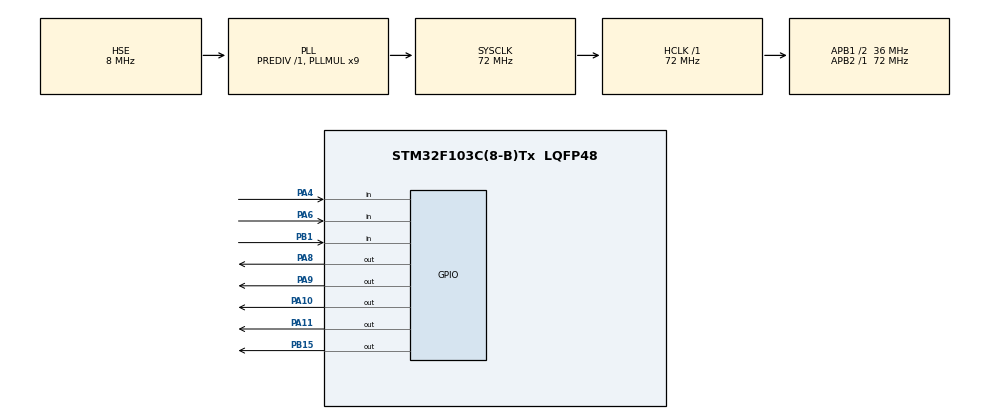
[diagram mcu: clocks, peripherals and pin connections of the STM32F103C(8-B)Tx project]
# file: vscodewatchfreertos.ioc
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FREERTOS.Tasks01=defaultTask,24,128,StartDefaultTask,Default,NULL,Dynamic,NULL,NULL;myTask02,8,128,StartTask02,Default,NULL,Dynamic,NULL,NULL;myTask03,8,128,StartTask03,Default,NULL,Dynamic,NULL,NULL;myTask04,8,128,StartTask04,Default,NULL,Dynamic,NULL,NULL
Mcu.Family=STM32F1
Mcu.Name=STM32F103C(8-B)Tx
Mcu.Package=LQFP48
NVIC.PriorityGroup=NVIC_PRIORITYGROUP_4
NVIC.TIM1_UP_IRQn=true\:15\:0\:false\:false\:true\:false\:false\:true\:true
NVIC.TIM2_IRQn=true\:6\:0\:true\:false\:true\:true\:true\:true\:true
NVIC.TimeBase=TIM1_UP_IRQn
NVIC.TimeBaseIP=TIM1
PA10.GPIO_ModeDefaultOutputPP=GPIO_MODE_OUTPUT_OD
PA10.GPIO_PuPd=GPIO_NOPULL
PA10.GPIO_Speed=GPIO_SPEED_FREQ_MEDIUM
PA10.PinState=GPIO_PIN_SET
PA10.Signal=GPIO_Output
PA11.GPIO_ModeDefaultOutputPP=GPIO_MODE_OUTPUT_OD
PA11.GPIO_PuPd=GPIO_NOPULL
PA11.GPIO_Speed=GPIO_SPEED_FREQ_MEDIUM
PA11.PinState=GPIO_PIN_SET
PA11.Signal=GPIO_Output
PA13.Mode=Serial_Wire
PA13.Signal=SYS_JTMS-SWDIO
PA14.Mode=Serial_Wire
PA14.Signal=SYS_JTCK-SWCLK
PA4.GPIO_PuPd=GPIO_PULLDOWN
PA4.Signal=GPIO_Input
PA6.GPIO_PuPd=GPIO_PULLDOWN
PA6.Signal=GPIO_Input
PA8.GPIO_ModeDefaultOutputPP=GPIO_MODE_OUTPUT_OD
PA8.GPIO_PuPd=GPIO_PULLUP
PA8.GPIO_Speed=GPIO_SPEED_FREQ_MEDIUM
PA8.PinState=GPIO_PIN_SET
PA8.Signal=GPIO_Output
PA9.GPIO_ModeDefaultOutputPP=GPIO_MODE_OUTPUT_OD
PA9.GPIO_PuPd=GPIO_PULLUP
PA9.GPIO_Speed=GPIO_SPEED_FREQ_MEDIUM
PA9.PinState=GPIO_PIN_SET
PA9.Signal=GPIO_Output
PB1.GPIO_PuPd=GPIO_PULLDOWN
PB1.Signal=GPIO_Input
PB15.GPIO_Speed=GPIO_SPEED_FREQ_HIGH
PB15.PinState=GPIO_PIN_SET
PB15.Signal=GPIO_Output
PC14-OSC32_IN.Mode=LSE-External-Oscillator
PC14-OSC32_IN.Signal=RCC_OSC32_IN
PC15-OSC32_OUT.Mode=LSE-External-Oscillator
PC15-OSC32_OUT.Signal=RCC_OSC32_OUT
PD0-OSC_IN.Mode=HSE-External-Oscillator
PD0-OSC_IN.Signal=RCC_OSC_IN
PD1-OSC_OUT.Mode=HSE-External-Oscillator
PD1-OSC_OUT.Signal=RCC_OSC_OUT
ProjectManager.HeapSize=0x200
ProjectManager.StackSize=0x400
ProjectManager.TargetToolchain=CMake
RCC.AHBFreq_Value=72000000
RCC.APB1CLKDivider=RCC_HCLK_DIV2
RCC.APB1Freq_Value=36000000
RCC.APB1TimFreq_Value=72000000
RCC.APB2Freq_Value=72000000
RCC.APB2TimFreq_Value=72000000
RCC.HCLKFreq_Value=72000000
RCC.PLLMUL=RCC_PLL_MUL9
RCC.PLLSourceVirtual=RCC_PLLSOURCE_HSE
RCC.SYSCLKFreq_VALUE=72000000
RCC.SYSCLKSource=RCC_SYSCLKSOURCE_PLLCLK
RCC.USBFreq_Value=72000000
RTC.AsynchPrediv=32767
RTC.AutoPrediv=0
RTC.Date=8
RTC.Month=RTC_MONTH_APRIL
RTC.WeekDay=RTC_WEEKDAY_WEDNESDAY
RTC.Year=26
TIM2.AutoReloadPreload=TIM_AUTORELOAD_PRELOAD_ENABLE
TIM2.Period=99
TIM2.Prescaler=719
VP_FREERTOS_VS_CMSIS_V2.Mode=CMSIS_V2
VP_RTC_VS_RTC_Activate.Mode=RTC_Enabled
VP_RTC_VS_RTC_Calendar.Mode=RTC_Calendar
VP_SYS_VS_tim1.Mode=TIM1
VP_TIM2_VS_ClockSourceINT.Mode=Internal
board=custom

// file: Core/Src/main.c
/* USER CODE BEGIN Header */
/**
  ******************************************************************************
  * @file           : main.c
  * @brief          : Main program body
  ******************************************************************************
  * @attention
  *
  * Copyright (c) 2026 STMicroelectronics.
  * All rights reserved.
  *
  * This software is licensed under terms that can be found in the LICENSE file
  * in the root directory of this software component.
  * If no LICENSE file comes with this software, it is provided AS-IS.
  *
  ******************************************************************************
  */
/* USER CODE END Header */
#include "main.h"
#include "cmsis_os.h"

/* USER CODE BEGIN Includes */
#include "key.h"
#include "OLED.h"
#include "MyRTC.h"
#include "menu.h"
#include "settime.h"
#include "AD.h"
uint8_t KeyNum; //全局按键状态变量
extern osMessageQueueId_t g_KeyEventQueue;
/* USER CODE END Includes */

RTC_HandleTypeDef hrtc;

TIM_HandleTypeDef htim2;

/* Definitions for defaultTask */
osThreadId_t defaultTaskHandle;
const osThreadAttr_t defaultTask_attributes = {
  .name = "defaultTask",
  .stack_size = 128 * 4,
  .priority = (osPriority_t) osPriorityNormal,
};
/* Definitions for myTask02 */
osThreadId_t myTask02Handle;
const osThreadAttr_t myTask02_attributes = {
  .name = "myTask02",
  .stack_size = 128 * 4,
  .priority = (osPriority_t) osPriorityLow,
};
/* Definitions for myTask03 */
osThreadId_t myTask03Handle;
const osThreadAttr_t myTask03_attributes = {
  .name = "myTask03",
  .stack_size = 1024 * 4,
  .priority = (osPriority_t) osPriorityLow,
};
/* Definitions for myTask04 */
osThreadId_t myTask04Handle;
const osThreadAttr_t myTask04_attributes = {
  .name = "myTask04",
  .stack_size = 256 * 4,
  .priority = (osPriority_t) osPriorityLow,
};

void SystemClock_Config(void);
static void MX_GPIO_Init(void);
static void MX_RTC_Init(void);
static void MX_TIM2_Init(void);
void StartDefaultTask(void *argument);
void StartTask02(void *argument);
void StartTask03(void *argument);
void StartTask04(void *argument);

/* USER CODE BEGIN 0 */

static UiPage_t HandleClockPage(void)
{
  int page = First_Page_Clock();

  if (page == 1)
  {
    return UI_PAGE_MENU;
  }
  if (page == 2)
  {
    return UI_PAGE_SETTING;
  }
  return UI_PAGE_CLOCK;
}

static UiPage_t HandleMenuPage(void)
{
  int r = Menu();
  if (r == 1)       return UI_PAGE_CLOCK;
  if (r == 5)       return UI_PAGE_GAME;
  if (r == 6)       return UI_PAGE_EMOJI;
  return UI_PAGE_MENU;
}

static UiPage_t HandleSettingPage(void)
{
  int r = SettingPage();
  if (r == 1) return UI_PAGE_CLOCK;
  if (r == 2) return UI_PAGE_SEL_FIELD;
  return UI_PAGE_SETTING;
}

static UiPage_t HandleSelFieldPage(void)  { return Page_SelField(); }
static UiPage_t HandleAdjYearPage(void)   { return Page_AdjYear(); }
static UiPage_t HandleAdjMonthPage(void)  { return Page_AdjMonth(); }
static UiPage_t HandleAdjDayPage(void)    { return Page_AdjDay(); }
static UiPage_t HandleAdjHourPage(void)   { return Page_AdjHour(); }
static UiPage_t HandleAdjMinPage(void)    { return Page_AdjMin(); }
static UiPage_t HandleAdjSecPage(void)    { return Page_AdjSec(); }
static UiPage_t HandleGamePage(void)      { return Page_Game(); }
static UiPage_t HandleEmojiPage(void)     { return Page_Emoji(); }

/* USER CODE END 0 */

int main(void)
{

  /* MCU Configuration--------------------------------------------------------*/

  /* Reset of all peripherals, Initializes the Flash interface and the Systick. */
  HAL_Init();

  /* Configure the system clock */
  SystemClock_Config();

  /* Initialize all configured peripherals */
  MX_GPIO_Init();
  MX_RTC_Init();
  MX_TIM2_Init();
  /* USER CODE BEGIN 2 */
  AD_Init();
  /* USER CODE END 2 */

  /* Init scheduler */
  osKernelInitialize();

  /* USER CODE BEGIN RTOS_QUEUES */
  /* key event queue is created inside key.c */
  /* USER CODE END RTOS_QUEUES */

  /* Create the thread(s) */
  /* creation of myTask02 */
  myTask02Handle = osThreadNew(StartTask02, NULL, &myTask02_attributes);

  /* creation of myTask03 */
  myTask03Handle = osThreadNew(StartTask03, NULL, &myTask03_attributes);

  /* USER CODE BEGIN RTOS_THREADS */
  /* add threads, ... */
  myTask04Handle = osThreadNew(StartTask04, NULL, &myTask04_attributes);
  /* USER CODE END RTOS_THREADS */

  /* Start scheduler */
  osKernelStart();

  /* We should never get here as control is now taken by the scheduler */

  /* Infinite loop */
  while (1)
  {

  }
}

void SystemClock_Config(void)
{
  RCC_OscInitTypeDef RCC_OscInitStruct = {0};
  RCC_ClkInitTypeDef RCC_ClkInitStruct = {0};
  RCC_PeriphCLKInitTypeDef PeriphClkInit = {0};

  /** Initializes the RCC Oscillators according to the specified parameters
  * in the RCC_OscInitTypeDef structure.
  */
  RCC_OscInitStruct.OscillatorType = RCC_OSCILLATORTYPE_LSI|RCC_OSCILLATORTYPE_HSE;
  RCC_OscInitStruct.HSEState = RCC_HSE_ON;
  RCC_OscInitStruct.HSEPredivValue = RCC_HSE_PREDIV_DIV1;
  RCC_OscInitStruct.HSIState = RCC_HSI_ON;
  RCC_OscInitStruct.LSIState = RCC_LSI_ON;
  RCC_OscInitStruct.PLL.PLLState = RCC_PLL_ON;
  RCC_OscInitStruct.PLL.PLLSource = RCC_PLLSOURCE_HSE;
  RCC_OscInitStruct.PLL.PLLMUL = RCC_PLL_MUL9;
  if (HAL_RCC_OscConfig(&RCC_OscInitStruct) != HAL_OK)
  {
    Error_Handler();
  }

  /** Initializes the CPU, AHB and APB buses clocks
  */
  RCC_ClkInitStruct.ClockType = RCC_CLOCKTYPE_HCLK|RCC_CLOCKTYPE_SYSCLK
                              |RCC_CLOCKTYPE_PCLK1|RCC_CLOCKTYPE_PCLK2;
  RCC_ClkInitStruct.SYSCLKSource = RCC_SYSCLKSOURCE_PLLCLK;
  RCC_ClkInitStruct.AHBCLKDivider = RCC_SYSCLK_DIV1;
  RCC_ClkInitStruct.APB1CLKDivider = RCC_HCLK_DIV2;
  RCC_ClkInitStruct.APB2CLKDivider = RCC_HCLK_DIV1;

  if (HAL_RCC_ClockConfig(&RCC_ClkInitStruct, FLASH_LATENCY_2) != HAL_OK)
  {
    Error_Handler();
  }
  PeriphClkInit.PeriphClockSelection = RCC_PERIPHCLK_RTC;
  PeriphClkInit.RTCClockSelection = RCC_RTCCLKSOURCE_LSI;
  if (HAL_RCCEx_PeriphCLKConfig(&PeriphClkInit) != HAL_OK)
  {
    Error_Handler();
  }
}

static void MX_RTC_Init(void)
{

  RTC_TimeTypeDef sTime = {0};
  RTC_DateTypeDef DateToUpdate = {0};

  /** Initialize RTC Only
  */
  hrtc.Instance = RTC;
  hrtc.Init.AsynchPrediv = 32767;
  hrtc.Init.OutPut = RTC_OUTPUTSOURCE_ALARM;
  if (HAL_RTC_Init(&hrtc) != HAL_OK)
  {
    Error_Handler();
  }

  /** Initialize RTC and set the Time and Date
  */
  sTime.Hours = 0x0;
  sTime.Minutes = 0x0;
  sTime.Seconds = 0x0;

  if (HAL_RTC_SetTime(&hrtc, &sTime, RTC_FORMAT_BCD) != HAL_OK)
  {
    Error_Handler();
  }
  DateToUpdate.WeekDay = RTC_WEEKDAY_WEDNESDAY;
  DateToUpdate.Month = RTC_MONTH_APRIL;
  DateToUpdate.Date = 0x8;
  DateToUpdate.Year = 0x26;

  if (HAL_RTC_SetDate(&hrtc, &DateToUpdate, RTC_FORMAT_BCD) != HAL_OK)
  {
    Error_Handler();
  }

}

static void MX_TIM2_Init(void)
{

  TIM_ClockConfigTypeDef sClockSourceConfig = {0};
  TIM_MasterConfigTypeDef sMasterConfig = {0};

  htim2.Instance = TIM2;
  htim2.Init.Prescaler = 719;
  htim2.Init.CounterMode = TIM_COUNTERMODE_UP;
  htim2.Init.Period = 99;
  htim2.Init.ClockDivision = TIM_CLOCKDIVISION_DIV1;
  htim2.Init.AutoReloadPreload = TIM_AUTORELOAD_PRELOAD_ENABLE;
  if (HAL_TIM_Base_Init(&htim2) != HAL_OK)
  {
    Error_Handler();
  }
  sClockSourceConfig.ClockSource = TIM_CLOCKSOURCE_INTERNAL;
  if (HAL_TIM_ConfigClockSource(&htim2, &sClockSourceConfig) != HAL_OK)
  {
    Error_Handler();
  }
  sMasterConfig.MasterOutputTrigger = TIM_TRGO_RESET;
  sMasterConfig.MasterSlaveMode = TIM_MASTERSLAVEMODE_DISABLE;
  if (HAL_TIMEx_MasterConfigSynchronization(&htim2, &sMasterConfig) != HAL_OK)
  {
    Error_Handler();
  }

}

static void MX_GPIO_Init(void)
{
  GPIO_InitTypeDef GPIO_InitStruct = {0};

  /* GPIO Ports Clock Enable */
  __HAL_RCC_GPIOC_CLK_ENABLE();
  __HAL_RCC_GPIOD_CLK_ENABLE();
  __HAL_RCC_GPIOA_CLK_ENABLE();
  __HAL_RCC_GPIOB_CLK_ENABLE();

  /*Configure GPIO pin Output Level */
  HAL_GPIO_WritePin(GPIOB, GPIO_PIN_15, GPIO_PIN_SET);

  /*Configure GPIO pin Output Level */
  HAL_GPIO_WritePin(GPIOA, GPIO_PIN_8|GPIO_PIN_9|GPIO_PIN_10|GPIO_PIN_11, GPIO_PIN_SET);

  /*Configure GPIO pins : PA4 PA6 */
  GPIO_InitStruct.Pin = GPIO_PIN_4|GPIO_PIN_6;
  GPIO_InitStruct.Mode = GPIO_MODE_INPUT;
  GPIO_InitStruct.Pull = GPIO_PULLDOWN;
  HAL_GPIO_Init(GPIOA, &GPIO_InitStruct);

  /*Configure GPIO pin : PB1 */
  GPIO_InitStruct.Pin = GPIO_PIN_1;
  GPIO_InitStruct.Mode = GPIO_MODE_INPUT;
  GPIO_InitStruct.Pull = GPIO_PULLDOWN;
  HAL_GPIO_Init(GPIOB, &GPIO_InitStruct);

  /*Configure GPIO pin : PB15 */
  GPIO_InitStruct.Pin = GPIO_PIN_15;
  GPIO_InitStruct.Mode = GPIO_MODE_OUTPUT_PP;
  GPIO_InitStruct.Pull = GPIO_NOPULL;
  GPIO_InitStruct.Speed = GPIO_SPEED_FREQ_HIGH;
  HAL_GPIO_Init(GPIOB, &GPIO_InitStruct);

  /*Configure GPIO pins : PA8 PA9 */
  GPIO_InitStruct.Pin = GPIO_PIN_8|GPIO_PIN_9;
  GPIO_InitStruct.Mode = GPIO_MODE_OUTPUT_PP;
  GPIO_InitStruct.Pull = GPIO_NOPULL;
  GPIO_InitStruct.Speed = GPIO_SPEED_FREQ_MEDIUM;
  HAL_GPIO_Init(GPIOA, &GPIO_InitStruct);

  /*Configure GPIO pins : PA10 PA11 */
  GPIO_InitStruct.Pin = GPIO_PIN_10|GPIO_PIN_11;
  GPIO_InitStruct.Mode = GPIO_MODE_OUTPUT_OD;
  GPIO_InitStruct.Pull = GPIO_NOPULL;
  GPIO_InitStruct.Speed = GPIO_SPEED_FREQ_MEDIUM;
  HAL_GPIO_Init(GPIOA, &GPIO_InitStruct);

}

void StartDefaultTask(void *argument)
{
  /* USER CODE BEGIN 5 */
  /* Infinite loop */
  for(;;)
  {
    osDelay(10);
  }
  /* USER CODE END 5 */
}

/* USER CODE BEGIN Header_StartTask02 */
/**
* @brief Function implementing the myTask02 thread (Key Scan Task).
* @param argument: Not used
* @retval None
*/
/* USER CODE END Header_StartTask02 */
void StartTask02(void *argument)
{
  /* USER CODE BEGIN StartTask02 */
  /* Infinite loop */
  for(;;)
  {
    Key_Tick();
    osDelay(1);
  }
  /* USER CODE END StartTask02 */
}

void StartTask03(void *argument)
{
  /* USER CODE BEGIN StartTask03 */
  UiPage_t current_page = UI_PAGE_CLOCK;
  OLED_Init();
  Peripheral_Init();

  /* Infinite loop */
  for(;;)
  {
    /* Read key event from queue (non-blocking) */
    uint8_t key = 0;
    if (osMessageQueueGet(g_KeyEventQueue, &key, NULL, 0) == osOK)
      KeyNum = key;
    else
      KeyNum = 0;

    switch (current_page)
    {
      case UI_PAGE_CLOCK:       current_page = HandleClockPage();     break;
      case UI_PAGE_MENU:        current_page = HandleMenuPage();      break;
      case UI_PAGE_SETTING:     current_page = HandleSettingPage();   break;
      case UI_PAGE_SEL_FIELD:   current_page = HandleSelFieldPage();  break;
      case UI_PAGE_ADJ_YEAR:    current_page = HandleAdjYearPage();   break;
      case UI_PAGE_ADJ_MONTH:   current_page = HandleAdjMonthPage();  break;
      case UI_PAGE_ADJ_DAY:     current_page = HandleAdjDayPage();    break;
      case UI_PAGE_ADJ_HOUR:    current_page = HandleAdjHourPage();   break;
      case UI_PAGE_ADJ_MIN:     current_page = HandleAdjMinPage();    break;
      case UI_PAGE_ADJ_SEC:     current_page = HandleAdjSecPage();    break;
      case UI_PAGE_GAME:        current_page = HandleGamePage();      break;
      case UI_PAGE_EMOJI:       current_page = HandleEmojiPage();     break;
      default:                  current_page = UI_PAGE_CLOCK;         break;
    }

    osDelay(20);
  }
  /* USER CODE END StartTask03 */
}

void StartTask04(void *argument)
{
  /* USER CODE BEGIN StartTask04 */
  /* Infinite loop */
  for(;;)
  {
    Battery_ReadADC();
    osDelay(1000);
  }
  /* USER CODE END StartTask04 */
}

void HAL_TIM_PeriodElapsedCallback(TIM_HandleTypeDef *htim)
{
  if (htim->Instance == TIM1)
  {
    HAL_IncTick();
  }
}

void Error_Handler(void)
{
  __disable_irq();
  while (1)
  {
  }
}
